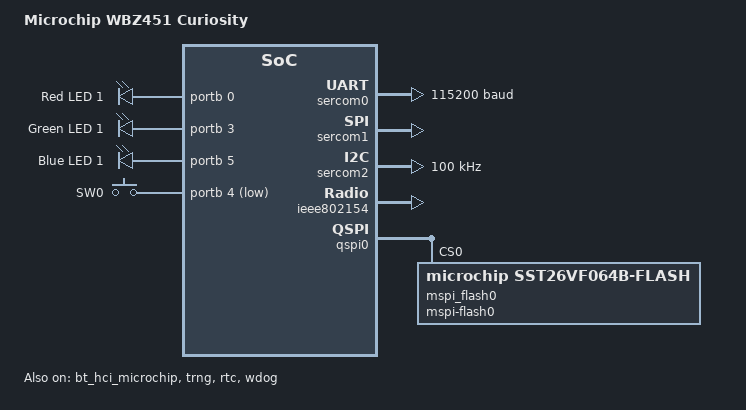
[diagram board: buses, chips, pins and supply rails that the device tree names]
/*
 * Copyright (c) 2025 Microchip Technology Inc.
 *
 * SPDX-License-Identifier: Apache-2.0
 */

/dts-v1/;
#include <microchip/pic32c/pic32cx_bz/bz2x/bz25/pic32cx1012bz25048.dtsi>
#include "wbz451_curiosity-pinctrl.dtsi"
#include <zephyr/dt-bindings/input/input-event-codes.h>
#include <zephyr/dt-bindings/i2c/i2c.h>

/ {
	model = "Microchip WBZ451 Curiosity";
	compatible = "microchip,wbz451-curiosity";

	chosen {
		zephyr,console = &sercom0;
		zephyr,shell-uart = &sercom0;
		zephyr,sram = &sram0;
		zephyr,flash = &flash0;
		zephyr,code-partition = &code_partition;
		zephyr,bt-hci = &bt_hci_microchip;
		zephyr,bt-c2h-uart = &sercom0;
		zephyr,ieee802154 = &ieee802154;
		zephyr,cortex-m-idle-timer = &rtc;
	};

	leds {
		compatible = "gpio-leds";
		led0: led_0 {
			gpios = <&portb 0 GPIO_ACTIVE_HIGH>;
			label = "Red LED 1";
		};
		led1: led_1 {
			gpios = <&portb 3 GPIO_ACTIVE_HIGH>;
			label = "Green LED 1";
		};
		led2: led_2 {
			gpios = <&portb 5 GPIO_ACTIVE_HIGH>;
			label = "Blue LED 1";
		};
	};

	buttons {
		compatible = "gpio-keys";
		button0: button_0 {
			gpios = <&portb 4 (GPIO_PULL_UP | GPIO_ACTIVE_LOW)>;
			label = "SW0";
			zephyr,code = <INPUT_KEY_0>;
		};
	};
	/* These aliases are provided for compatibility with samples */
	aliases {
		led0 = &led0;
		led1 = &led1;
		led2 = &led2;
		sw0 = &button0;
		rtc = &rtc;
		watchdog0 = &wdog;
	};
};

&cpu0 {
	clock-frequency = <64000000>;
};


&sercom0 {
	status = "okay";
	compatible = "microchip,sercom-g1-uart";
	rxpo = <1>;
	txpo = <0>;
	current-speed = <115200>;
	pinctrl-0 = <&sercom0_uart_default>;
	pinctrl-names = "default";

	dmas = <&dmac 0 4>, <&dmac 1 5>;
	dma-names = "rx", "tx";
};

/* sercom 1 in spi mode, so disable uart mode
 *&sercom1 {
 *	status = "okay";
 *	compatible = "microchip,sercom-g1-uart";
 *	rxpo = <1>;
 *	txpo = <0>;
 *	current-speed = <115200>;
 *	pinctrl-0 = <&sercom1_uart_default>;
 *	pinctrl-names = "default";
 *
 *	dmas = <&dmac 2 6>, <&dmac 3 7>;
 *	dma-names = "rx", "tx";
 *};
 */

/* sercom 1 spi master mode */
&sercom1 {
	status = "okay";
	compatible = "microchip,sercom-g1-spi";
	dipo = <3>;
	dopo = <0>;
	#address-cells = <1>;
	#size-cells = <0>;
	pinctrl-0 = <&sercom1_spi_default>;
	pinctrl-names = "default";

	dmas = <&dmac 2 6>, <&dmac 3 7>;
	dma-names = "rx", "tx";
};

/* sercom 1 spi slave mode
 *&sercom1 {
 *	status = "okay";
 *	compatible = "microchip,sercom-g1-spi";
 *	dipo = <0>;
 *	dopo = <2>;
 *	#address-cells = <1>;
 *	#size-cells = <0>;
 *	pinctrl-0 = <&sercom1_spi_default>;
 *	pinctrl-names = "default";
 *
 *	dmas = <&dmac 2 6>, <&dmac 3 7>;
 *	dma-names = "rx", "tx";
 *};
 */

&sercom2 {
	status = "okay";
	compatible = "microchip,sercom-g1-i2c";
	clock-frequency = <I2C_BITRATE_STANDARD>;
	#address-cells = <1>;
	#size-cells = <0>;
	pinctrl-0 = <&sercom2_i2c_default>;
	pinctrl-names = "default";

	dmas = <&dmac 4 8>, <&dmac 5 9>;
	dma-names = "rx", "tx";
};


&bt_hci_microchip {
	status = "okay";
};

&ieee802154 {
	status = "okay";
};

&trng {
	status = "okay";
};

&flash0 {
	partitions {
		compatible = "fixed-partitions";
		#address-cells = <1>;
		#size-cells = <1>;

		code_partition: partition@0 {
			label = "code";
			reg = <0x0 DT_SIZE_K(1024-16)>;  /* Start at 0x01000000, size 1 MB */
			read-only;
		};

		/*
		 * The final 16 KiB is reserved for the application.
		 * Storage partition will be used by FCB/LittleFS/NVS
		 * if enabled.
		 */
		storage_partition: partition@FC000 {
			label = "storage";
			reg = <0xFC000 0x00004000>;
		};
	};
};

&porta {
	status = "okay";
};

&portb {
	status = "okay";
};

/*
 *&rtc {
 *	compatible = "microchip,rtc-g1";
 *	status = "okay";
 *	prescaler = <1024>;
 *	alarms-count = <2>;
 *	cal-constant = <1048576>;  (8192 * 128 = 1048576)
 *};
 */

&rtc {
	compatible = "microchip,rtc-g1-counter";
	status = "okay";
	max-bit-width = <32>;
	prescaler = <1>;
};

&tcc0 {
	status = "disabled";
	compatible = "microchip,tcc-g1-pwm";
	#pwm-cells = <3>;
	pinctrl-0 = <&tcc0_pwm_default>;
	pinctrl-names = "default";
	max-bit-width = <24>;
	prescaler = <1>;
	channels = <6>;
};

&tcc1 {
	status = "disabled";
	compatible = "microchip,tcc-g1-pwm";
	#pwm-cells = <3>;
	pinctrl-0 = <&tcc1_pwm_default>;
	pinctrl-names = "default";
	max-bit-width = <24>;
	prescaler = <1>;
	channels = <6>;
};

&tcc2 {
	status = "disabled";
	compatible = "microchip,tcc-g1-pwm";
	#pwm-cells = <3>;
	pinctrl-0 = <&tcc2_pwm_default>;
	pinctrl-names = "default";
	max-bit-width = <16>;
	prescaler = <256>;
	channels = <2>;
};

/* TCC: In 16-bit/32-bit mode, the pulse value is written to CC[1]. This is because they are in MPWM
 *		mode. In MPWM mode, the wave output will can be observed in WO[1]
 */
&tc0 {
	status = "disabled";
	compatible = "microchip,tc-g1-pwm";
	#pwm-cells = <3>;
	pinctrl-0 = <&tc0_pwm_default>;
	pinctrl-names = "default";
	max-bit-width = <16>;
	prescaler = <256>;
	channels = <2>;
};

&tc1 {
	status = "disabled";
	compatible = "microchip,tc-g1-pwm";
	#pwm-cells = <3>;
	pinctrl-0 = <&tc1_pwm_default>;
	pinctrl-names = "default";
	max-bit-width = <16>;
	prescaler = <256>;
	channels = <2>;
};

&tc2 {
	status = "disabled";
	compatible = "microchip,tc-g1-pwm";
	#pwm-cells = <3>;
	pinctrl-0 = <&tc2_pwm_default>;
	pinctrl-names = "default";
	max-bit-width = <16>;
	prescaler = <256>;
	channels = <2>;
};

&tc3 {
	status = "disabled";
	compatible = "microchip,tc-g1-pwm";
	#pwm-cells = <3>;
	pinctrl-0 = <&tc3_pwm_default>;
	pinctrl-names = "default";
	max-bit-width = <16>;
	prescaler = <256>;
	channels = <2>;
};

&ac {
	status = "disabled";
	compatible = "microchip,ac-g1-comparator";
	comparator-channel = <0>;
	/*
	 * AC_AIN3 = RB1 (AN)
	 */
	positive-mux-input = "pin3";
	negative-mux-input = "bandgap";
	vddana-scale-value = <1>;
	output-mode = "async";
	filter-length = "off";
	run-standby;
};

&porta {
	/* GPIO_CNPUSET = 0x1FF5; Except PA1 (QSPI Data), PA3, the others are pulled up
	 * GPIO_CNPDSET = 0x0008; PA3 is Pulled down: SERCOM 0-RTS
	 */
	sleep {
		status = "disabled";
		gpio-hog;
		gpios = <0 GPIO_PULL_UP>,
			<2 GPIO_PULL_UP>,
			<4 GPIO_PULL_UP>,
			<5 GPIO_PULL_UP>,
			<6 GPIO_PULL_UP>,
			<7 GPIO_PULL_UP>,
			<8 GPIO_PULL_UP>,
			<9 GPIO_PULL_UP>,
			<10 GPIO_PULL_UP>,
			<11 GPIO_PULL_UP>,
			<12 GPIO_PULL_UP>,
			<3 GPIO_PULL_DOWN>;
		input;
	};
};

&portb {
	/* GPIO_CNPUSET = 0xF886; PB1, PB2, PB7(User LED), PB11(QSPI_SCK),
	 *                        PB12 (QSPI DATA1), PB13(QSPI DATA0) are pulled high
	 * GPIO_CNPDSET = 0x0029; pull down PB0, PB3, PB5 (LEDs)
	 */
	sleep {
		status = "disabled";
		gpio-hog;
		gpios = <1 GPIO_PULL_UP>,
			<2 GPIO_PULL_UP>,
			<7 GPIO_PULL_UP>,
			<11 GPIO_PULL_UP>,
			<12 GPIO_PULL_UP>,
			<13 GPIO_PULL_UP>,
			<14 GPIO_PULL_UP>,
			<15 GPIO_PULL_UP>,
			<0 GPIO_PULL_DOWN>,
			<3 GPIO_PULL_DOWN>,
			<5 GPIO_PULL_DOWN>;
		input;
	};
};

&wdog {
	status = "okay";
};

&qspi0 {
	status = "okay";

	mspi_flash0: mspi-flash0@0 {
		compatible = "microchip,sst26vf064b-flash","jedec,mspi-nor";

		reg = <0>;
		/* Addressing */
		address-length = "ADDR_3_BYTE";

		/* CE / command format */
		ce-break-config = <0x800000 0>;          /* 8 MB device size */
		command-length = "INSTR_1_BYTE";
		mspi-ce-polarity = "MSPI_CE_ACTIVE_LOW";
		mspi-cpp-mode = "MSPI_CPP_MODE_0";

		/* I/O mode */
		mspi-data-rate = "MSPI_DATA_RATE_SINGLE";
		mspi-io-mode   = "MSPI_IO_MODE_SINGLE";

		/* Clock */
		mspi-max-frequency = <25000000>;         /* Safe default (can increase later) */

		/* Read / Write commands */
		read-command  = <0x03>;                  /* Normal Read */
		rx-dummy = <0>;
		tx-dummy = <0>;
		write-command = <0x02>;                  /* Page Program */

	};
};
